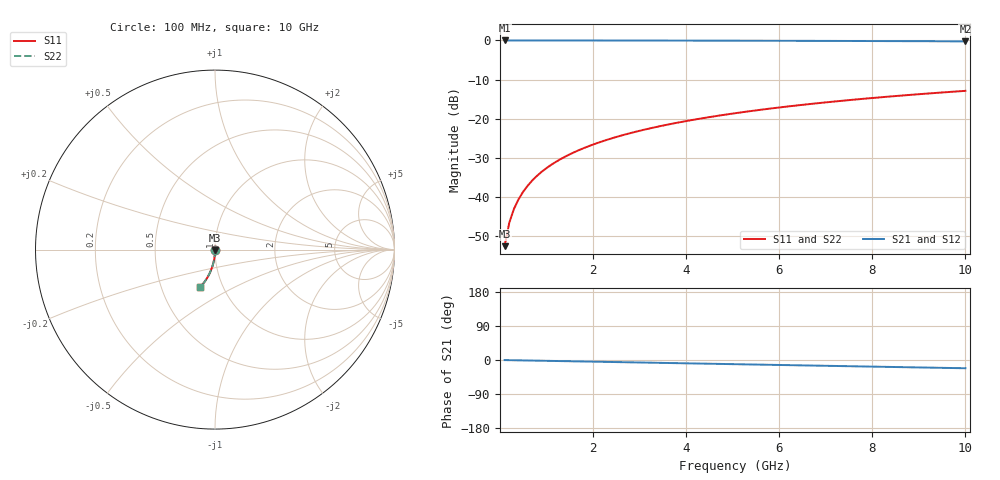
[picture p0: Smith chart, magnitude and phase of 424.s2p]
# Hz S RI R 50.00
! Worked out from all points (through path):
!   100 points, 100 MHz to 10 GHz, reference 50 ohm
!   highest |S21| = 0.00 dB at 100 MHz (marker M1); lowest = -0.2 dB at 10 GHz (marker M2)
!   group delay of S21, straight-line fit = 6.06 ps
!   lowest |S11| = -52.6 dB at 100 MHz (marker M3), VSWR 1.00, Z = 50 - j0.233 ohm
!   |S11| at or under -10 dB: start of sweep to end of sweep
!   |S22| runs from -52.6 to -12.9 dB; largest |S21 - S12| = 0
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1e8  0.000191 -0.00233  0.9998 -0.00381  0.9998 -0.00381  0.000191 -0.00233
2e8  0.000162 -0.00466  0.9997 -0.00762  0.9997 -0.00762  0.000162 -0.00466
3e8  0.000116 -0.00699  0.9997 -0.0114  0.9997 -0.0114  0.000116 -0.00699
4e8  5.17e-05 -0.00932  0.9996 -0.0152  0.9996 -0.0152  5.17e-05 -0.00932
5e8  -3.05e-05 -0.0117  0.9995 -0.0191  0.9995 -0.0191  -3.05e-05 -0.0117
6e8  -0.000131 -0.014  0.9994 -0.0229  0.9994 -0.0229  -0.000131 -0.014
7e8  -0.000248 -0.0163  0.9993 -0.0267  0.9993 -0.0267  -0.000248 -0.0163
8e8  -0.000384 -0.0186  0.9991 -0.0305  0.9991 -0.0305  -0.000384 -0.0186
9e8  -0.000538 -0.021  0.999 -0.0343  0.999 -0.0343  -0.000538 -0.021
1.1e9  -0.000898 -0.0256  0.9985 -0.0419  0.9985 -0.0419  -0.000898 -0.0256
1.4e9  -0.00157 -0.0326  0.9978 -0.0533  0.9978 -0.0533  -0.00157 -0.0326
1.8e9  -0.00272 -0.0419  0.9965 -0.0685  0.9965 -0.0685  -0.00272 -0.0419
2.1e9  -0.00377 -0.0488  0.9953 -0.0799  0.9953 -0.0799  -0.00377 -0.0488
2.5e9  -0.00541 -0.058  0.9935 -0.0951  0.9935 -0.0951  -0.00541 -0.058
2.9e9  -0.00733 -0.0672  0.9913 -0.1102  0.9913 -0.1102  -0.00733 -0.0672
3.4e9  -0.0101 -0.0785  0.9882 -0.129  0.9882 -0.129  -0.0101 -0.0785
4.2e9  -0.0155 -0.0964  0.9821 -0.1589  0.9821 -0.1589  -0.0155 -0.0964
5.1e9  -0.0228 -0.1161  0.9738 -0.1921  0.9738 -0.1921  -0.0228 -0.1161
5.9e9  -0.0305 -0.1332  0.9652 -0.2211  0.9652 -0.2211  -0.0305 -0.1332
6.7e9  -0.0391 -0.1497  0.9554 -0.2497  0.9554 -0.2497  -0.0391 -0.1497
8.4e9  -0.0605 -0.1826  0.9311 -0.3085  0.9311 -0.3085  -0.0605 -0.1826
1e10  -0.0841 -0.2104  0.904 -0.3609  0.904 -0.3609  -0.0841 -0.2104
